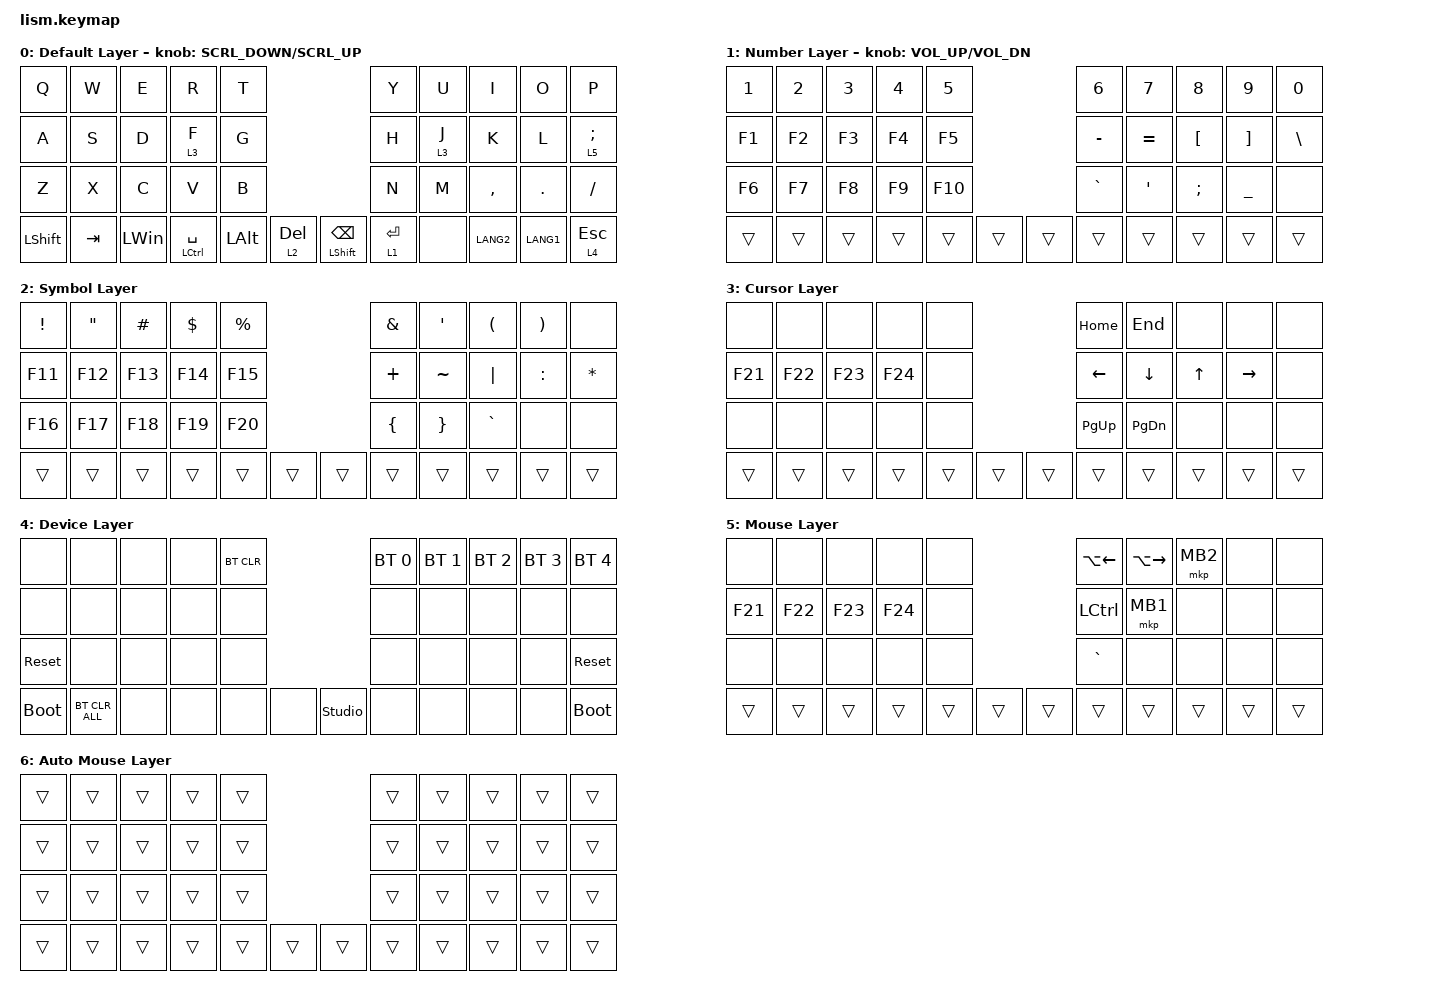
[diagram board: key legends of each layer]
#define ZMK_POINTING_DEFAULT_SCRL_VAL 200

#include <behaviors.dtsi>
#include <dt-bindings/zmk/bt.h>
#include <dt-bindings/zmk/keys.h>
#include <dt-bindings/zmk/pointing.h>
#include <dt-bindings/zmk/mouse.h>

&mt {
    tapping-term-ms = <300>;
    flavor = "balanced";
};

&lt {
    quick-tap-ms = <300>;
};

/ {
    behaviors {
        encoder_msc: sensor_rotate_msc {
            compatible = "zmk,behavior-sensor-rotate-var";
            #sensor-binding-cells = <2>;
            bindings = <&msc>, <&msc>;
            tap-ms = <20>;
        };

        encoder_kp: sensor_rotate_kp {
            compatible = "zmk,behavior-sensor-rotate-var";
            #sensor-binding-cells = <2>;
            bindings = <&kp>, <&kp>;
        };
    };

    keymap {
        compatible = "zmk,keymap";

        // ======================
        // Layer 0 (修正)
        // ======================
        default_layer {
            display-name = "Default Layer";
            bindings = <
                &kp Q           &kp W    &kp E         &kp R            &kp T                                                &kp Y        &kp U           &kp I        &kp O        &kp P
                &kp A           &kp S    &kp D         &lt 3 F           &kp G                                                &kp H        &lt 3 J          &kp K        &kp L        &lt 5 SEMI
                &kp Z           &kp X    &kp C         &kp V            &kp B                                                &kp N        &kp M           &kp COMMA    &kp DOT      &kp SLASH
                &kp LEFT_SHIFT  &kp TAB  &kp LEFT_WIN  &mt LCTRL SPACE  &kp LEFT_ALT  &lt 2 DEL    &mt LEFT_SHIFT BACKSPACE  &lt 1 ENTER  &none          &kp LANG2    &kp LANG1    &lt 4 ESC
            >;

            sensor-bindings = <&encoder_msc SCRL_DOWN SCRL_UP>;
        };

        // ======================
        // Layer 1 (修正)
        // ======================
        layer_1 {
            display-name = "Number Layer";
            bindings = <
                &kp N1        &kp N2        &kp N3        &kp N4        &kp N5                     &kp N6           &kp N7         &kp N8        &kp N9        &kp N0
                &kp F1        &kp F2        &kp F3        &kp F4        &kp F5                     &kp MINUS        &kp EQUAL      &kp LBKT      &kp RBKT      &kp BSLH
                &kp F6        &kp F7        &kp F8        &kp F9        &kp F10                    &kp GRAVE        &kp SQT        &kp SEMI      &kp UNDER     &none
                &trans        &trans        &trans        &trans        &trans   &trans    &trans  &trans           &trans         &trans        &trans        &trans
            >;

            sensor-bindings = <&encoder_kp C_VOL_UP C_VOL_DN>;
        };

        // ======================
        // Layer 2 (修正)
        // ======================
        layer_2 {
            display-name = "Symbol Layer";
            bindings = <
                &kp EXCL      &kp DQT       &kp HASH      &kp DLLR      &kp PRCNT                  &kp AMPS         &kp SQT        &kp LPAR      &kp RPAR      &none
                &kp F11       &kp F12       &kp F13       &kp F14       &kp F15                    &kp PLUS         &kp TILDE      &kp PIPE      &kp COLON     &kp ASTERISK
                &kp F16       &kp F17       &kp F18       &kp F19       &kp F20                    &kp LBRC         &kp RBRC       &kp GRAVE     &none         &none
                &trans        &trans        &trans        &trans        &trans    &trans   &trans  &trans           &trans         &trans        &trans        &trans
            >;
        };

        // ======================
        // Layer 3 (修正)
        // ======================
        layer_3 {
            display-name = "Cursor Layer";
            bindings = <
                &none    &none    &none    &none    &none                     &kp HOME        &kp END         &none         &none            &none
                &kp F21  &kp F22  &kp F23  &kp F24  &none                     &kp LEFT_ARROW  &kp DOWN_ARROW  &kp UP_ARROW  &kp RIGHT_ARROW  &none
                &none    &none    &none    &none    &none                     &kp PAGE_UP     &kp PAGE_DOWN   &none         &none            &none
                &trans   &trans   &trans   &trans   &trans  &trans    &trans  &trans          &trans          &trans        &trans           &trans
            >;
        };

        // ======================
        // Layer 4 (修正)
        // ======================
        layer_4 {
            display-name = "Device Layer";
            bindings = <
                &none        &none           &none  &none  &bt BT_CLR                           &bt BT_SEL 0  &bt BT_SEL 1  &bt BT_SEL 2  &bt BT_SEL 3  &bt BT_SEL 4
                &none        &none           &none  &none  &none                                &none         &none         &none         &none         &none
                &sys_reset   &none           &none  &none  &none                                &none         &none         &none         &none         &sys_reset
                &bootloader  &bt BT_CLR_ALL  &none  &none  &none       &none    &studio_unlock  &none         &none         &none         &none         &bootloader
            >;
        };

        // ======================
        // Layer 5（そのまま）
        // ======================
        layer_5 {
            display-name = "Mouse Layer";
            bindings = <
                &none    &none    &none    &none    &none                     &kp LA(LEFT)   &kp LA(RIGHT)   &mkp MB2      &none         &none
                &kp F21  &kp F22  &kp F23  &kp F24  &none                     &kp LCTRL      &mkp MB1        &none         &none         &none
                &none    &none    &none    &none    &none                     &kp GRAVE      &none           &none         &none         &none
                &trans   &trans   &trans   &trans   &trans  &trans    &trans  &trans         &trans         &trans        &trans        &trans
            >;
        };

        // ======================
        // Layer 6（完全据え置き）
        // ======================
        layer_6 {
            display-name = "Auto Mouse Layer";
            bindings = <
                &trans           &trans             &trans                &trans                  &trans                                                 &trans       &trans           &trans             &trans              &trans
                &trans           &trans             &trans                &trans                  &trans                                                 &trans       &trans           &trans             &trans              &trans
                &trans           &trans             &trans                &trans                  &trans                                                 &trans       &trans           &trans             &trans              &trans
                &trans           &trans             &trans                &trans                  &trans            &trans              &trans           &trans       &trans           &trans             &trans              &trans
            >;
        };

        layer_7 {
            status = "reserved";
            display-name = "Blank Layer";
            bindings = <
                &trans  &trans  &trans  &trans  &trans                    &trans  &trans  &trans  &trans  &trans
                &trans  &trans  &trans  &trans  &trans                    &trans  &trans  &trans  &trans  &trans
                &trans  &trans  &trans  &trans  &trans                    &trans  &trans  &trans  &trans  &trans
                &trans  &trans  &trans  &trans  &trans  &trans    &trans  &trans  &trans  &trans  &trans  &trans
            >;
        };
    };
};
